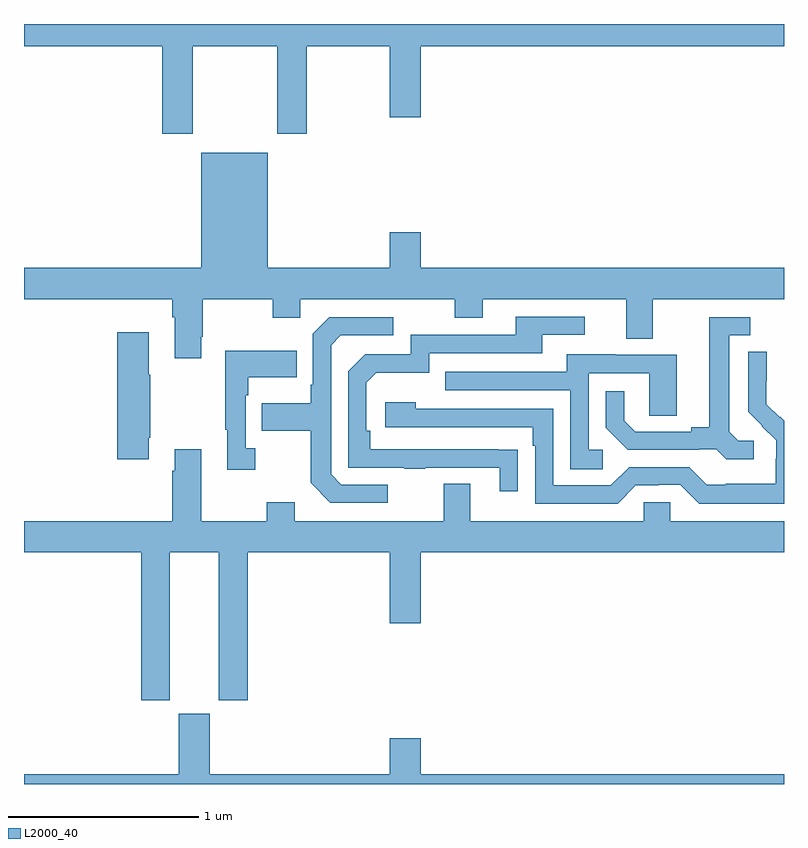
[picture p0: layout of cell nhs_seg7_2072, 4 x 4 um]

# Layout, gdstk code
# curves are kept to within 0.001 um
import gdstk
lib = gdstk.Library(unit=1e-6, precision=1e-09)
def P(c, l, *ps):  # polygons
    for p in ps: c.add(gdstk.Polygon(p, *l))
L2000_40 = (2000, 40)

nhs_seg7_2072 = lib.new_cell('nhs_seg7_2072')
P(nhs_seg7_2072, L2000_40, [(247.887,1065.884),(248.332,1065.884),(248.332,1065.423),(248.487,1065.423),(248.487,1065.884),(248.924,1065.884),(248.924,1065.51),(249.088,1065.51),(249.088,1065.884),(251,1065.884),(251,1066),(247,1066),(247,1065.884),(247.727,1065.884),(247.727,1065.423),(247.887,1065.423)],
  [(247.933,1064.353),(247.941,1064.353),(247.941,1064.552),(248.308,1064.552),(248.308,1064.453),(248.454,1064.453),(248.454,1064.552),(249.268,1064.552),(249.268,1064.453),(249.415,1064.453),(249.415,1064.552),(250.169,1064.552),(250.169,1064.344),(250.309,1064.344),(250.309,1064.552),(251,1064.552),(251,1064.716),(249.088,1064.716),(249.088,1064.905),(248.924,1064.905),(248.924,1064.716),(248.284,1064.716),(248.284,1065.322),(247.934,1065.322),(247.934,1064.716),(247,1064.716),(247,1064.552),(247.781,1064.552),(247.781,1064.456),(247.793,1064.456),(247.793,1064.241),(247.933,1064.241)],
  [(249.599,1063.76),(248.822,1063.761),(248.822,1063.858),(248.802,1063.858),(248.802,1064.112),(248.855,1064.165),(249.132,1064.165),(249.132,1064.268),(249.727,1064.268),(249.727,1064.364),(249.952,1064.364),(249.952,1064.46),(249.587,1064.46),(249.587,1064.364),(249.036,1064.364),(249.036,1064.262),(248.796,1064.262),(248.706,1064.172),(248.706,1063.665),(249.001,1063.665),(249.001,1063.66),(249.113,1063.66),(249.113,1063.665),(249.503,1063.665),(249.503,1063.542),(249.599,1063.542)],
  [(250.84,1063.806),(250.758,1063.806),(250.711,1063.853),(250.711,1064.361),(250.822,1064.361),(250.822,1064.457),(250.607,1064.457),(250.607,1063.877),(250.511,1063.877),(250.511,1063.854),(250.216,1063.854),(250.159,1063.911),(250.159,1064.068),(250.062,1064.068),(250.062,1063.874),(250.178,1063.758),(250.55,1063.758),(250.55,1063.761),(250.644,1063.761),(250.696,1063.709),(250.84,1063.709)],
  [(248.914,1063.575),(248.67,1063.575),(248.616,1063.629),(248.616,1064.31),(248.667,1064.361),(248.944,1064.361),(248.944,1064.457),(248.607,1064.457),(248.52,1064.37),(248.52,1064.101),(248.508,1064.101),(248.508,1064.005),(248.251,1064.005),(248.251,1063.858),(248.508,1063.858),(248.508,1063.585),(248.613,1063.479),(248.914,1063.479)],
  [(247.657,1063.822),(247.665,1063.822),(247.665,1064.153),(247.657,1064.153),(247.657,1064.377),(247.49,1064.377),(247.49,1063.71),(247.657,1063.71)],
  [(248.218,1063.766),(248.166,1063.766),(248.166,1064.045),(248.179,1064.045),(248.179,1064.141),(248.435,1064.141),(248.435,1064.281),(248.058,1064.281),(248.058,1063.865),(248.069,1063.865),(248.069,1063.653),(248.218,1063.653)],
  [(251,1063.912),(250.98,1063.932),(250.977,1063.929),(250.907,1064),(250.908,1064.276),(250.812,1064.276),(250.812,1063.958),(250.958,1063.81),(250.958,1063.713),(250.956,1063.713),(250.956,1063.579),(250.693,1063.579),(250.693,1063.575),(250.593,1063.575),(250.5,1063.668),(250.185,1063.668),(250.089,1063.572),(249.786,1063.572),(249.786,1063.974),(249.062,1063.974),(249.062,1064.008),(248.901,1064.008),(248.901,1063.878),(249.677,1063.878),(249.677,1063.781),(249.69,1063.781),(249.69,1063.476),(250.125,1063.476),(250.221,1063.572),(250.34,1063.572),(250.34,1063.575),(250.455,1063.575),(250.555,1063.475),(251,1063.475)],
  [(250.045,1063.758),(249.972,1063.758),(249.972,1064.163),(250.29,1064.163),(250.29,1063.939),(250.435,1063.939),(250.435,1064.259),(250.111,1064.259),(250.111,1064.263),(249.857,1064.263),(249.857,1064.169),(249.217,1064.169),(249.217,1064.073),(249.876,1064.073),(249.876,1063.657),(250.045,1063.657)],
  [(247.768,1063.22),(248.024,1063.22),(248.024,1062.441),(248.177,1062.441),(248.177,1063.22),(248.924,1063.22),(248.924,1062.846),(249.088,1062.846),(249.088,1063.22),(251,1063.22),(251,1063.384),(250.401,1063.384),(250.401,1063.482),(250.263,1063.482),(250.263,1063.384),(249.349,1063.384),(249.349,1063.579),(249.209,1063.579),(249.209,1063.384),(248.425,1063.384),(248.425,1063.483),(248.278,1063.483),(248.278,1063.384),(247.933,1063.384),(247.933,1063.762),(247.793,1063.762),(247.793,1063.649),(247.781,1063.649),(247.781,1063.384),(247,1063.384),(247,1063.22),(247.616,1063.22),(247.616,1062.441),(247.768,1062.441)],
  [(251,1062.052),(249.088,1062.052),(249.088,1062.241),(248.924,1062.241),(248.924,1062.052),(247.978,1062.052),(247.978,1062.369),(247.814,1062.369),(247.814,1062.052),(247,1062.052),(247,1062),(251,1062)])

lib.write_gds('nhs_seg7_2072.gds')
